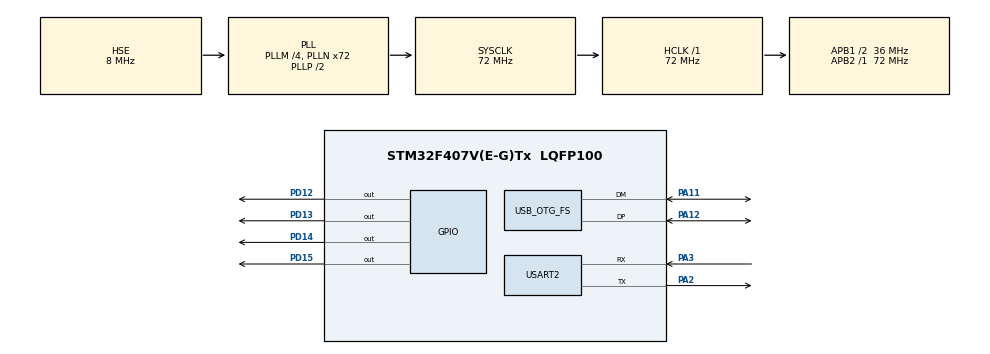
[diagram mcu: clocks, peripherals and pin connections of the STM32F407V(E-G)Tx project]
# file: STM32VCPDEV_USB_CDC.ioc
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ADC1.Channel-0\#ChannelRegularConversion=ADC_CHANNEL_TEMPSENSOR
ADC1.NbrOfConversionFlag=1
ADC1.Rank-0\#ChannelRegularConversion=1
ADC1.SamplingTime-0\#ChannelRegularConversion=ADC_SAMPLETIME_3CYCLES
ADC1.master=1
Mcu.Family=STM32F4
Mcu.Name=STM32F407V(E-G)Tx
Mcu.Package=LQFP100
NVIC.ADC_IRQn=true\:0\:0\:false\:false\:true\:true\:true\:true
NVIC.OTG_FS_IRQn=true\:0\:0\:false\:false\:true\:true\:true\:true
NVIC.PriorityGroup=NVIC_PRIORITYGROUP_0
PA11.Mode=Device_Only
PA11.Signal=USB_OTG_FS_DM
PA12.Mode=Device_Only
PA12.Signal=USB_OTG_FS_DP
PA2.Mode=Asynchronous
PA2.Signal=USART2_TX
PA3.Mode=Asynchronous
PA3.Signal=USART2_RX
PD12.Signal=GPIO_Output
PD13.Signal=GPIO_Output
PD14.Signal=GPIO_Output
PD15.Signal=GPIO_Output
PH0-OSC_IN.Mode=HSE-External-Oscillator
PH0-OSC_IN.Signal=RCC_OSC_IN
PH1-OSC_OUT.Mode=HSE-External-Oscillator
PH1-OSC_OUT.Signal=RCC_OSC_OUT
ProjectManager.HeapSize=0x200
ProjectManager.StackSize=0x400
ProjectManager.TargetToolchain=STM32CubeIDE
RCC.48MHZClocksFreq_Value=48000000
RCC.AHBFreq_Value=72000000
RCC.APB1CLKDivider=RCC_HCLK_DIV2
RCC.APB1Freq_Value=36000000
RCC.APB1TimFreq_Value=72000000
RCC.APB2Freq_Value=72000000
RCC.APB2TimFreq_Value=72000000
RCC.CortexFreq_Value=72000000
RCC.HCLKFreq_Value=72000000
RCC.HSE_VALUE=8000000
RCC.HSI_VALUE=16000000
RCC.LSE_VALUE=32768
RCC.PLLM=4
RCC.PLLN=72
RCC.PLLQ=3
RCC.SYSCLKFreq_VALUE=72000000
RCC.SYSCLKSource=RCC_SYSCLKSOURCE_PLLCLK
RCC.VCOOutputFreq_Value=144000000
USART2.VirtualMode=VM_ASYNC
USB_DEVICE.CLASS_NAME_FS=CDC
USB_DEVICE.VirtualMode-CDC_FS=Cdc
USB_DEVICE.VirtualModeFS=Cdc_FS
USB_OTG_FS.VirtualMode=Device_Only
VP_ADC1_TempSens_Input.Mode=IN-TempSens
VP_USB_DEVICE_VS_USB_DEVICE_CDC_FS.Mode=CDC_FS
board=STM32F407G-DISC1

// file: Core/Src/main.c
/* USER CODE BEGIN Header */
/**
  ******************************************************************************
  * @file           : main.c
  * @brief          : Main program body
  ******************************************************************************
  * @attention
  *
  * Copyright (c) 2025 STMicroelectronics.
  * All rights reserved.
  *
  * This software is licensed under terms that can be found in the LICENSE file
  * in the root directory of this software component.
  * If no LICENSE file comes with this software, it is provided AS-IS.
  *
  ******************************************************************************
  */
/* USER CODE END Header */
#include "main.h"
#include "usb_device.h"

/* USER CODE BEGIN Includes */
#include "usbd_cdc_if.h"
#include <string.h>
#include <stdio.h>
/* USER CODE END Includes */

ADC_HandleTypeDef hadc1;

UART_HandleTypeDef huart2;

void SystemClock_Config(void);
static void MX_GPIO_Init(void);
static void MX_ADC1_Init(void);
static void MX_USART2_UART_Init(void);

/* USER CODE BEGIN 0 */
// data recived from out ep (from PC->dev) is hold here in this buffer for the gadget driver(stm32 usbcdc device)
extern uint8_t UserRxBufferFS[APP_RX_DATA_SIZE];
volatile int isStatusSent = 0;
char TxBuffer[50];
char sensor_val[30];

static volatile uint32_t g_adc_raw = 0;
static volatile uint8_t  g_adc_done = 0;
/* Called by HAL from ADC IRQ when conversion completes */
void HAL_ADC_ConvCpltCallback(ADC_HandleTypeDef* hadc)
{
  if (hadc->Instance == ADC1)
  {
		g_adc_raw = HAL_ADC_GetValue(hadc);
		g_adc_done = 1;
  }
}
/* USER CODE END 0 */

int main(void)
{

  /* MCU Configuration--------------------------------------------------------*/

  /* Reset of all peripherals, Initializes the Flash interface and the Systick. */
  HAL_Init();

  /* Configure the system clock */
  SystemClock_Config();

  /* Initialize all configured peripherals */
  MX_GPIO_Init();
  MX_USB_DEVICE_Init();
  MX_ADC1_Init();
  MX_USART2_UART_Init();
  /* USER CODE BEGIN 2 */
  /* Start first ADC conversion in interrupt mode */
  HAL_ADC_Start_IT(&hadc1);
  //HAL_Delay(5000);
  //sprintf(TxBuffer,"Hello from STM32 DISC1\r\n");
  //CDC_Transmit_FS((uint8_t*)TxBuffer,strlen(TxBuffer));
  /* USER CODE END 2 */

  /* Infinite loop */
  /* USER CODE BEGIN WHILE */
  while (1)
  {
	if(g_adc_done)
	{
		g_adc_done = 0;

		/* Convert ADC->temperature (typical values from STM32F4 datasheet) */
		/* VDDA assumed 3.0 V on DISC1 */
		float vsense = ((float)g_adc_raw * 3.0f) / 4095.0f;
		float temp_c = ((vsense - 0.76f) / 0.0025f) + 25.0f;

		sprintf(sensor_val, (char*)"DieTemp: %.2f C\r\n", temp_c);
		CDC_Transmit_FS((uint8_t*)sensor_val, strlen(sensor_val));
		//HAL_UART_Transmit(&huart2, (uint8_t*)sensor_val, sizeof(sensor_val), HAL_MAX_DELAY);
		HAL_Delay(1000);
		HAL_ADC_Start_IT(&hadc1);
	}
	/*
	size_t len = strlen((char *)UserRxBufferFS); // get current string length
	if (len + 2 < APP_RX_DATA_SIZE)  // ensure space for '\n', '\r' and '\0'
	{
			len = len+1;
	        UserRxBufferFS[len] = '\n';
	        len = len+1;
	        UserRxBufferFS[len] = '\r';
	        len = len+1;
	        UserRxBufferFS[len] = '\0'; // keep it a valid string
	}*/
	HAL_UART_Transmit(&huart2, (uint8_t*)UserRxBufferFS, sizeof(UserRxBufferFS), HAL_MAX_DELAY);
	if(strncmp((char*)UserRxBufferFS, "A", 1) == 0){
	  	HAL_GPIO_WritePin(GPIOD, GPIO_PIN_12, GPIO_PIN_SET);
	}else if(strncmp((char*)UserRxBufferFS, "a", 1) == 0){
		HAL_GPIO_WritePin(GPIOD, GPIO_PIN_12, GPIO_PIN_RESET);
	}else if(strncmp((char*)UserRxBufferFS, "B", 1) == 0){
		HAL_GPIO_WritePin(GPIOD, GPIO_PIN_13, GPIO_PIN_SET);
	}else if(strncmp((char*)UserRxBufferFS, "b", 1) == 0){
		HAL_GPIO_WritePin(GPIOD, GPIO_PIN_13, GPIO_PIN_RESET);
	}else if(strncmp((char*)UserRxBufferFS, "C", 1) == 0){
		HAL_GPIO_WritePin(GPIOD, GPIO_PIN_14, GPIO_PIN_SET);
	}else if(strncmp((char*)UserRxBufferFS, "c", 1) == 0){
		HAL_GPIO_WritePin(GPIOD, GPIO_PIN_14, GPIO_PIN_RESET);
	}else if(strncmp((char*)UserRxBufferFS, "D", 1) == 0){
		HAL_GPIO_WritePin(GPIOD, GPIO_PIN_15, GPIO_PIN_SET);
	}else if(strncmp((char*)UserRxBufferFS, "d", 1) == 0){
		HAL_GPIO_WritePin(GPIOD, GPIO_PIN_15, GPIO_PIN_RESET);
	}else if(strncmp((char*)UserRxBufferFS, "1", 1) == 0){
		if(isStatusSent == 0){
			if(HAL_GPIO_ReadPin(GPIOD, GPIO_PIN_12) == GPIO_PIN_SET){
				sprintf(TxBuffer,"\r\nGREEN LED is turned ON\r\n");
				CDC_Transmit_FS((uint8_t*)TxBuffer,strlen(TxBuffer));
			}else{
				sprintf(TxBuffer,"\r\nGREEN LED is turned OFF\r\n");
				CDC_Transmit_FS((uint8_t*)TxBuffer,strlen(TxBuffer));
			}
			isStatusSent = 1;
		}
	}else if(strncmp((char*)UserRxBufferFS, "2", 1) == 0){
		if(isStatusSent == 0){
			if(HAL_GPIO_ReadPin(GPIOD, GPIO_PIN_13) == GPIO_PIN_SET){
				sprintf(TxBuffer,"\r\nORANGE LED is turned ON\r\n");
				CDC_Transmit_FS((uint8_t*)TxBuffer,strlen(TxBuffer));
			}else{
				sprintf(TxBuffer,"\r\nORANGE LED is turned OFF\r\n");
				CDC_Transmit_FS((uint8_t*)TxBuffer,strlen(TxBuffer));
			}
			isStatusSent = 1;
		}
	}else if(strncmp((char*)UserRxBufferFS, "3", 1) == 0){
		if(isStatusSent == 0){
			if(HAL_GPIO_ReadPin(GPIOD, GPIO_PIN_14) == GPIO_PIN_SET){
				sprintf(TxBuffer,"\r\nRED LED is turned ON\r\n");
				CDC_Transmit_FS((uint8_t*)TxBuffer,strlen(TxBuffer));
			}else{
				sprintf(TxBuffer,"\r\nRED LED is turned OFF\r\n");
				CDC_Transmit_FS((uint8_t*)TxBuffer,strlen(TxBuffer));
			}
			isStatusSent = 1;
		}
	}else if(strncmp((char*)UserRxBufferFS, "4", 1) == 0){
		if(isStatusSent == 0){
			if(HAL_GPIO_ReadPin(GPIOD, GPIO_PIN_15) == GPIO_PIN_SET){
				sprintf(TxBuffer,"\r\nBLUE LED is turned ON\r\n");
				CDC_Transmit_FS((uint8_t*)TxBuffer,strlen(TxBuffer));
			}else{
				sprintf(TxBuffer,"\r\nBLUE LED is turned OFF\r\n");
				CDC_Transmit_FS((uint8_t*)TxBuffer,strlen(TxBuffer));
			}
			isStatusSent = 1;
		}

	}else if(strncmp((char*)UserRxBufferFS, "L", 1) == 0)
	{
		if(HAL_GPIO_ReadPin(GPIOD, GPIO_PIN_12) == GPIO_PIN_SET){
			TxBuffer[0] = '1';
			//sprintf(TxBuffer,"1\r\n");
		}else{
			TxBuffer[0] = '0';
		}
		if(HAL_GPIO_ReadPin(GPIOD, GPIO_PIN_13) == GPIO_PIN_SET){
			TxBuffer[1] = '1';
		}else{
			TxBuffer[1] = '0';
		}
		if(HAL_GPIO_ReadPin(GPIOD, GPIO_PIN_14) == GPIO_PIN_SET){
			TxBuffer[2] = '1';
		}else{
			TxBuffer[2] = '0';
		}
		if(HAL_GPIO_ReadPin(GPIOD, GPIO_PIN_15) == GPIO_PIN_SET){
			TxBuffer[3] = '1';
		}else{
			TxBuffer[3] = '0';
		}
		TxBuffer[4] = '\n';
		TxBuffer[5] = '\r';
		CDC_Transmit_FS((uint8_t*)TxBuffer,strlen(TxBuffer));
		isStatusSent = 1;
	}else if(strncmp((char*)UserRxBufferFS, "r", 1) == 0){
		isStatusSent = 0;
	}else{
		// do nothing
	}
	//HAL_Delay(1000);
    /* USER CODE END WHILE */

  }
}

void SystemClock_Config(void)
{
  RCC_OscInitTypeDef RCC_OscInitStruct = {0};
  RCC_ClkInitTypeDef RCC_ClkInitStruct = {0};

  /** Configure the main internal regulator output voltage
  */
  __HAL_RCC_PWR_CLK_ENABLE();
  __HAL_PWR_VOLTAGESCALING_CONFIG(PWR_REGULATOR_VOLTAGE_SCALE1);

  /** Initializes the RCC Oscillators according to the specified parameters
  * in the RCC_OscInitTypeDef structure.
  */
  RCC_OscInitStruct.OscillatorType = RCC_OSCILLATORTYPE_HSE;
  RCC_OscInitStruct.HSEState = RCC_HSE_ON;
  RCC_OscInitStruct.PLL.PLLState = RCC_PLL_ON;
  RCC_OscInitStruct.PLL.PLLSource = RCC_PLLSOURCE_HSE;
  RCC_OscInitStruct.PLL.PLLM = 4;
  RCC_OscInitStruct.PLL.PLLN = 72;
  RCC_OscInitStruct.PLL.PLLP = RCC_PLLP_DIV2;
  RCC_OscInitStruct.PLL.PLLQ = 3;
  if (HAL_RCC_OscConfig(&RCC_OscInitStruct) != HAL_OK)
  {
    Error_Handler();
  }

  /** Initializes the CPU, AHB and APB buses clocks
  */
  RCC_ClkInitStruct.ClockType = RCC_CLOCKTYPE_HCLK|RCC_CLOCKTYPE_SYSCLK
                              |RCC_CLOCKTYPE_PCLK1|RCC_CLOCKTYPE_PCLK2;
  RCC_ClkInitStruct.SYSCLKSource = RCC_SYSCLKSOURCE_PLLCLK;
  RCC_ClkInitStruct.AHBCLKDivider = RCC_SYSCLK_DIV1;
  RCC_ClkInitStruct.APB1CLKDivider = RCC_HCLK_DIV2;
  RCC_ClkInitStruct.APB2CLKDivider = RCC_HCLK_DIV1;

  if (HAL_RCC_ClockConfig(&RCC_ClkInitStruct, FLASH_LATENCY_2) != HAL_OK)
  {
    Error_Handler();
  }
}

static void MX_ADC1_Init(void)
{

  ADC_ChannelConfTypeDef sConfig = {0};

  /** Configure the global features of the ADC (Clock, Resolution, Data Alignment and number of conversion)
  */
  hadc1.Instance = ADC1;
  hadc1.Init.ClockPrescaler = ADC_CLOCK_SYNC_PCLK_DIV2;
  hadc1.Init.Resolution = ADC_RESOLUTION_12B;
  hadc1.Init.ScanConvMode = DISABLE;
  hadc1.Init.ContinuousConvMode = DISABLE;
  hadc1.Init.DiscontinuousConvMode = DISABLE;
  hadc1.Init.ExternalTrigConvEdge = ADC_EXTERNALTRIGCONVEDGE_NONE;
  hadc1.Init.ExternalTrigConv = ADC_SOFTWARE_START;
  hadc1.Init.DataAlign = ADC_DATAALIGN_RIGHT;
  hadc1.Init.NbrOfConversion = 1;
  hadc1.Init.DMAContinuousRequests = DISABLE;
  hadc1.Init.EOCSelection = ADC_EOC_SINGLE_CONV;
  if (HAL_ADC_Init(&hadc1) != HAL_OK)
  {
    Error_Handler();
  }

  /** Configure for the selected ADC regular channel its corresponding rank in the sequencer and its sample time.
  */
  sConfig.Channel = ADC_CHANNEL_TEMPSENSOR;
  sConfig.Rank = 1;
  sConfig.SamplingTime = ADC_SAMPLETIME_3CYCLES;
  if (HAL_ADC_ConfigChannel(&hadc1, &sConfig) != HAL_OK)
  {
    Error_Handler();
  }

}

static void MX_USART2_UART_Init(void)
{

  huart2.Instance = USART2;
  huart2.Init.BaudRate = 115200;
  huart2.Init.WordLength = UART_WORDLENGTH_8B;
  huart2.Init.StopBits = UART_STOPBITS_1;
  huart2.Init.Parity = UART_PARITY_NONE;
  huart2.Init.Mode = UART_MODE_TX_RX;
  huart2.Init.HwFlowCtl = UART_HWCONTROL_NONE;
  huart2.Init.OverSampling = UART_OVERSAMPLING_16;
  if (HAL_UART_Init(&huart2) != HAL_OK)
  {
    Error_Handler();
  }

}

static void MX_GPIO_Init(void)
{
  GPIO_InitTypeDef GPIO_InitStruct = {0};

  /* GPIO Ports Clock Enable */
  __HAL_RCC_GPIOH_CLK_ENABLE();
  __HAL_RCC_GPIOA_CLK_ENABLE();
  __HAL_RCC_GPIOD_CLK_ENABLE();

  /*Configure GPIO pin Output Level */
  HAL_GPIO_WritePin(GPIOD, GPIO_PIN_12|GPIO_PIN_13|GPIO_PIN_14|GPIO_PIN_15, GPIO_PIN_RESET);

  /*Configure GPIO pins : PD12 PD13 PD14 PD15 */
  GPIO_InitStruct.Pin = GPIO_PIN_12|GPIO_PIN_13|GPIO_PIN_14|GPIO_PIN_15;
  GPIO_InitStruct.Mode = GPIO_MODE_OUTPUT_PP;
  GPIO_InitStruct.Pull = GPIO_NOPULL;
  GPIO_InitStruct.Speed = GPIO_SPEED_FREQ_LOW;
  HAL_GPIO_Init(GPIOD, &GPIO_InitStruct);

}

void Error_Handler(void)
{
  __disable_irq();
  while (1)
  {
  }
}
